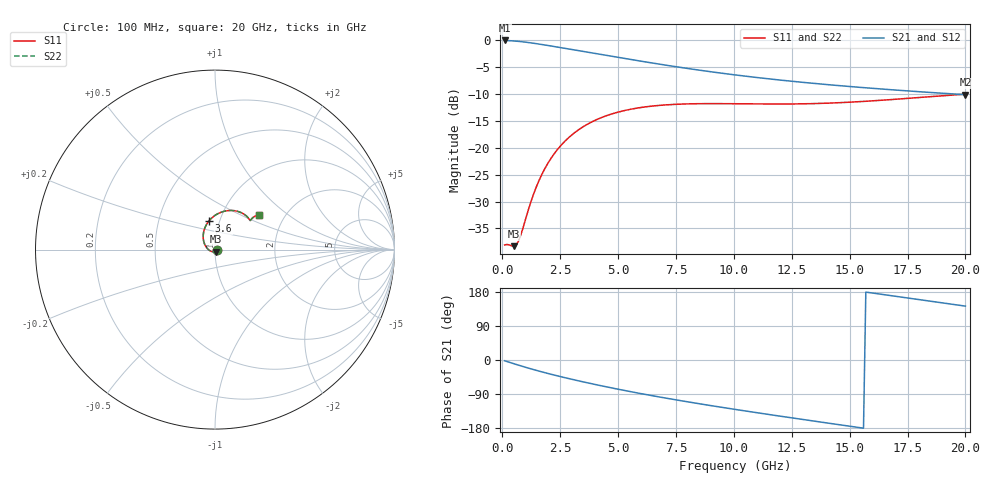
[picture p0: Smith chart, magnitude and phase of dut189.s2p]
! Touchstone file exported from HFSS 2024.1.0
!  File:  C:/UserFiles/LocalFiles/RDL_TSV_Batchsim/temp_RDL_TSV_189_1779441199.aedt
!  Generated:  05:26:54 PM May 22, 2026
!  Design:  RDL_TSV
!  Project:  temp_RDL_TSV_189_1779441199
!  Setup:  Setup1
!  Solution:  Sweep
! Variables:
!  dtsv = 11.37um
!  hbump = 3um
!  htsv = 89.59um
!  ldown = 312.04um
!  lrdl = 506.47um
!  p = 40
!  p1 = 50.97um
!  rhole = 10um
!  subl = 2962um
!  t = 450um
!  tdown = 3.93um
!  trdl = 3.84um
!  viad = 10um
!  wdown = 21.43um
!  wrdl = 23.98um
!  xbump = 18um
# GHz S MA R 50.000000
! Terminal data exported
! Port[1] = TM1_1_T1
! Port[2] = TM1_4_T1
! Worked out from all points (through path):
!   200 points, 100 MHz to 20 GHz, reference 50 ohm
!   highest |S21| = -0.11 dB at 100 MHz (marker M1); lowest = -10.2 dB at 20 GHz (marker M2)
!   group delay of S21, straight-line fit = 28.4 ps
!   lowest |S11| = -38.3 dB at 500 MHz (marker M3), VSWR 1.02, Z = 50.5 - j1.13 ohm
!   |S11| at or under -10 dB: start of sweep to end of sweep
!   |S22| runs from -38.3 to -10.1 dB; largest |S21 - S12| = 3.5e-14
!   S11 on the Smith chart (normalised r, x): 100 MHz: 1.03, -0.00; 3.6 GHz: 0.89, +0.29; 20 GHz: 1.49, +0.64
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0.1  0.01251 -9.0  0.9869 -2.0  0.9869 -2.0  0.01251 -9.0
! Gamma 0 0 0 0
! Port Impedance 50 0 50 0
0.5  0.01219 -66.6  0.9762 -9.8  0.9762 -9.8  0.01218 -66.6
0.6  0.01254 -85.5  0.9722 -11.7  0.9722 -11.7  0.01253 -85.5
0.7  0.01359 -104.5  0.9678 -13.6  0.9678 -13.6  0.01359 -104.6
1.4  0.03956 176.1  0.9267 -26.2  0.9267 -26.2  0.03958 176.0
1.6  0.05031 164.6  0.9129 -29.5  0.9129 -29.5  0.05034 164.6
1.9  0.06752 150.7  0.8916 -34.4  0.8916 -34.4  0.06756 150.7
2.2  0.08527 139.3  0.8701 -39.1  0.8701 -39.1  0.08532 139.3
2.6  0.1087 126.7  0.8416 -45.1  0.8416 -45.1  0.1088 126.7
3  0.1311 116.1  0.8139 -50.9  0.8139 -50.9  0.1312 116.1
3.5  0.1566 104.7  0.7803 -57.8  0.7803 -57.8  0.1568 104.7
3.6  0.1614 102.7  0.7738 -59.2  0.7738 -59.2  0.1615 102.7
4.3  0.1907 89.9  0.7295 -68.4  0.7295 -68.4  0.1909 89.9
5  0.2135 79.4  0.6878 -77.1  0.6878 -77.1  0.2137 79.4
5.9  0.2342 68.6  0.6385 -87.7  0.6385 -87.7  0.2344 68.6
6.8  0.2468 60.0  0.5941 -97.8  0.5941 -97.8  0.247 60.0
8.4  0.2556 49.3  0.5272 -114.4  0.5272 -114.4  0.2559 49.3
10.1  0.2554 42.8  0.4714 -130.8  0.4714 -130.8  0.2557 42.8
11.7  0.2538 40.1  0.4302 -145.5  0.4302 -145.5  0.2541 40.1
13.4  0.256 39.6  0.3954 -160.7  0.3954 -160.7  0.2563 39.5
16.7  0.2782 40.2  0.3456 170.5  0.3456 170.5  0.2784 40.1
20  0.3136 38.4  0.3097 142.2  0.3097 142.2  0.3138 38.3
